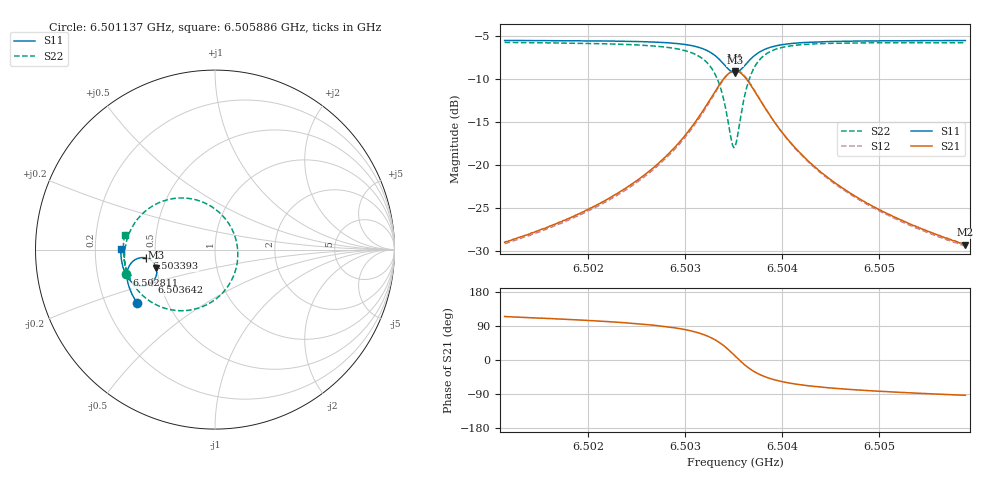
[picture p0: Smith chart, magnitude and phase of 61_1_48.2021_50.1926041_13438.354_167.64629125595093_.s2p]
#  HZ  S  RI  R  50.00
! Rohde & Schwarz Vector Network Analyzer
! Rohde-Schwarz,ZNB20-2Port,1311601062101988,3.16
! Created: UTC 3/20/2024, 11:38:46 AM
! freq[Hz]  re:S11  im:S11  re:S21  im:S21  re:S12  im:S12  re:S22  im:S22
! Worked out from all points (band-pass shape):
!   401 points, 6.501137 GHz to 6.505886 GHz, reference 50 ohm
!   highest |S21| = -9.09 dB at 6.503512 GHz (marker M1); lowest = -29.3 dB at 6.505886 GHz (marker M2)
!   |S21| within 3 dB of the highest: 6.503274 GHz to 6.503749 GHz (475.2 kHz wide, 0.00731 % of centre)
!   lowest |S11| = -9.3 dB at 6.503512 GHz (marker M3), VSWR 2.04, Z = 24.9 - j5.7 ohm
!   |S11| at or under -10 dB: nowhere
!   |S22| runs from -18.0 to -5.8 dB; largest |S21 - S12| = 0.012
!   S11 on the Smith chart (normalised r, x): 6.501137 GHz: 0.34, -0.28; 6.502811 GHz: 0.33, -0.13; 6.503393 GHz: 0.45, -0.05; 6.503642 GHz: 0.46, -0.20; 6.505886 GHz: 0.31, +0.00
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6.5011375e9  -0.4346 -0.2971  -0.0149 0.0323  -0.013 0.0324  -0.4947 -0.1361
6.5019328e9  -0.4676 -0.2365  -0.0138 0.0511  -0.0114 0.0503  -0.5045 -0.0479
6.502372e9  -0.4824 -0.1961  -0.0106 0.0715  -0.00734 0.0702  -0.4992 0.0181
6.5027281e9  -0.4899 -0.1548  -0.000491 0.1026  0.00315 0.1  -0.4768 0.0944
6.5028112e9  -0.4902 -0.1432  0.00445 0.1134  0.00818 0.1103  -0.4659 0.1176
6.503013e9  -0.4852 -0.1091  0.0281 0.1491  0.0317 0.1444  -0.4165 0.1873
6.5031554e9  -0.4703 -0.079  0.067 0.1836  0.0697 0.1775  -0.3407 0.2471
6.5032979e9  -0.4308 -0.0493  0.1521 0.2127  0.1525 0.2063  -0.1857 0.2877
6.5033928e9  -0.3825 -0.0471  0.2465 0.1947  0.2466 0.19  -0.0217 0.2411
6.5034759e9  -0.3383 -0.0781  0.327 0.1166  0.3296 0.1125  0.1067 0.0868
6.5035115e9  -0.3272 -0.1011  0.3447 0.0659  0.3486 0.0604  0.127 -0.00872
6.5035353e9  -0.3242 -0.1179  0.348 0.03  0.3522 0.023  0.1238 -0.0747
6.5035709e9  -0.3266 -0.143  0.3398 -0.0217  0.3437 -0.0309  0.0944 -0.1667
6.5036421e9  -0.3497 -0.1814  0.2909 -0.1003  0.2908 -0.1122  -0.0211 -0.2933
6.5036896e9  -0.371 -0.1954  0.2493 -0.1296  0.2463 -0.1413  -0.1083 -0.3305
6.5037489e9  -0.3969 -0.2024  0.2006 -0.1464  0.1951 -0.1566  -0.2042 -0.3401
6.5039032e9  -0.4454 -0.1931  0.1141 -0.1416  0.1067 -0.1471  -0.3602 -0.2891
6.5040694e9  -0.4738 -0.1717  0.0672 -0.1198  0.0605 -0.1221  -0.4357 -0.2204
6.5043068e9  -0.4951 -0.142  0.0358 -0.0935  0.0305 -0.094  -0.4807 -0.1452
6.5046748e9  -0.5113 -0.1023  0.0155 -0.068  0.0119 -0.0676  -0.5045 -0.0666
6.5051021e9  -0.5205 -0.062  0.00546 -0.0511  0.00303 -0.0504  -0.5107 -0.00268
6.5058855e9  -0.526 0.00524  -0.0018 -0.0343  -0.00331 -0.0335  -0.5038 0.0836
